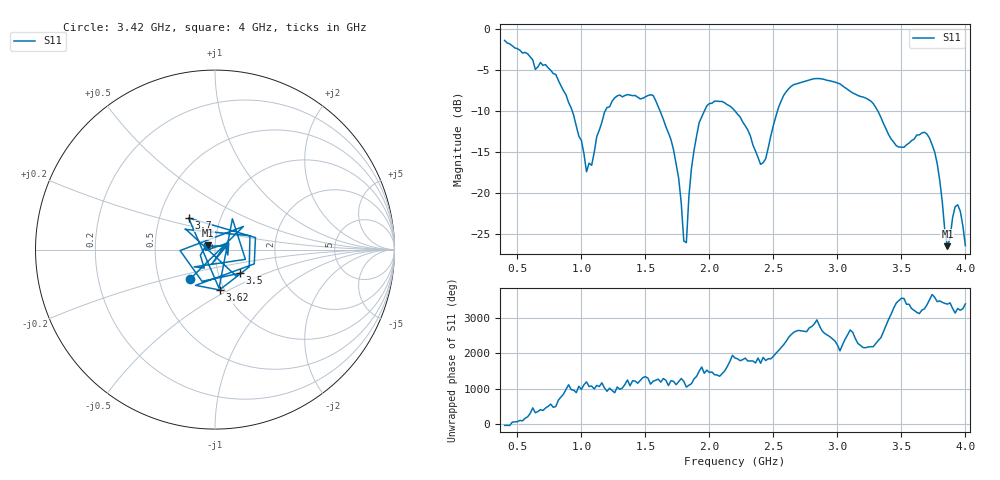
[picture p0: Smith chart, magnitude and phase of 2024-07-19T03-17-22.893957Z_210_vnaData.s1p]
!Created with skrf (http://scikit-rf.org).
# Hz S RI R 50.0
!freq ReS11 ImS11
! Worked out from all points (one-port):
!   181 points, 400 MHz to 4 GHz, reference 50 ohm
!   lowest |S11| = -26.5 dB at 3.86 GHz (marker M1), VSWR 1.10, Z = 46 + j2.19 ohm
!   |S11| at or under -10 dB: 1.615 GHz to 1.96 GHz (345.3 MHz wide, 19.3 % of centre); 2.201 GHz to 2.531 GHz (330.1 MHz wide, 14 % of centre); 3.317 GHz to end of sweep (the widest 3 of 4)
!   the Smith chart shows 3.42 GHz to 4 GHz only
!   S11 on the Smith chart (normalised r, x): 3.42 GHz: 0.72, -0.25; 3.5 GHz: 1.27, -0.35; 3.62 GHz: 0.95, -0.45; 3.7 GHz: 0.70, +0.26; 4 GHz: 0.92, +0.04
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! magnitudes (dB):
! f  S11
! 400 MHz  -1.4
! 860 MHz  -7.5
! 1.04 GHz  -17.4
! 1.18 GHz  -10.1
! 1.3 GHz  -8.0
! 1.56 GHz  -8.1
! 1.7 GHz  -13.5
! 1.76 GHz  -18.2
! 1.8 GHz  -25.9
! 1.82 GHz  -26.1
! 1.86 GHz  -17.0
! 1.92 GHz  -11.4
! 2.04 GHz  -8.8
! 2.2 GHz  -10.0
! 2.4 GHz  -16.5
! 2.56 GHz  -8.8
! 2.66 GHz  -6.8
! 3.1 GHz  -7.6
! 3.28 GHz  -9.1
! 3.42 GHz  -13.4
! 3.5 GHz  -14.4
! 3.56 GHz  -13.9
! 3.62 GHz  -12.9
! 3.7 GHz  -12.8
! 3.78 GHz  -16.4
! 3.86 GHz  -26.5
! 3.94 GHz  -21.4
! 4 GHz  -26.4
